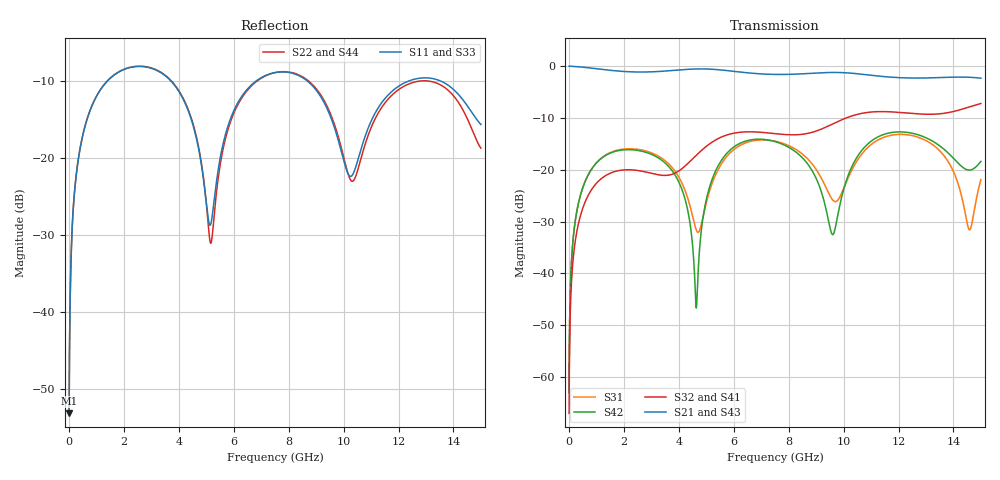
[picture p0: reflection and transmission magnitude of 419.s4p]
! Created with skrf 1.8.0 (http://scikit-rf.org).
# GHz S RI R 50.0
!freq ReS11 ImS11 ReS12 ImS12 ReS13 ImS13
! ReS14 ImS14
! ReS21 ImS21 ReS22 ImS22 ReS23 ImS23
! ReS24 ImS24
! ReS31 ImS31 ReS32 ImS32 ReS33 ImS33
! ReS34 ImS34
! ReS41 ImS41 ReS42 ImS42 ReS43 ImS43
! ReS44 ImS44
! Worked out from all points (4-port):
!   2499 points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, 5 MHz to 15 GHz, reference 50 ohm
!   strongest paths, dB at 5 MHz, 3.476 GHz, 7.19 GHz, 11.1 GHz, 15 GHz:
!     S21: 0.0, -1.0, -1.6, -1.8, -2.3
!     S43: 0.0, -1.0, -1.6, -1.8, -2.3
!     S32: -67.0, -21.1, -12.9, -8.8, -7.2
!     S41: -67.0, -21.2, -12.9, -8.8, -7.2
!     S42: -63.0, -18.6, -14.2, -14.1, -18.4
!     S31: -63.0, -18.1, -14.3, -14.8, -21.9
!   lowest |S11| = -53.2 dB at 5 MHz (marker M1), VSWR 1.00, Z = 50.2 + j0.133 ohm
!   |S11| at or under -10 dB: 3.704 GHz to 6.829 GHz (3.126 GHz wide, 59.4 % of centre); 8.667 GHz to 12.4 GHz (3.733 GHz wide, 35.4 % of centre); 13.51 GHz to end of sweep (the widest 3 of 4)
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0.005  0.00174 0.00132  0.9982 -0.00339  8.83e-05 0.000705  -8.57e-05 -0.00044
       0.9982 -0.00339  0.00174 0.00132  -8.57e-05 -0.00044  8.82e-05 0.000705
       8.83e-05 0.000705  -8.57e-05 -0.00044  0.00174 0.00132  0.9982 -0.00339
       -8.57e-05 -0.00044  8.82e-05 0.000705  0.9982 -0.00339  0.00174 0.00132
0.3126303  0.0266 0.0864  0.9636 -0.2104  0.0128 0.0415  -0.0104 -0.0255
           0.9636 -0.2104  0.0267 0.0864  -0.0104 -0.0255  0.0123 0.0416
           0.0128 0.0415  -0.0104 -0.0255  0.0266 0.0864  0.9636 -0.2104
           -0.0104 -0.0255  0.0123 0.0416  0.9636 -0.2104  0.0267 0.0864
1.519383  0.2812 0.1733  0.5225 -0.7444  0.1363 0.0552  -0.0929 -0.00181
          0.5225 -0.7444  0.2828 0.1721  -0.0931 -0.00164  0.1315 0.0622
          0.1363 0.0552  -0.0931 -0.00164  0.2812 0.1734  0.5224 -0.7444
          -0.0929 -0.00181  0.1315 0.0622  0.5224 -0.7444  0.283 0.172
4.639433  0.0707 -0.1135  -0.8645 -0.3645  -0.0231 -0.0123  -0.0507 0.1286
          -0.8645 -0.3645  0.0643 -0.1212  -0.0484 0.1296  0.00442 0.00145
          -0.0231 -0.0123  -0.0484 0.1296  0.0722 -0.1141  -0.8643 -0.3646
          -0.0507 0.1286  0.00442 0.00145  -0.8643 -0.3646  0.0638 -0.1226
7.928303  0.3585 -0.0278  -0.028 0.8309  0.1509 -0.0871  0.2089 -0.0573
          -0.028 0.8309  0.3604 -0.0269  0.209 -0.063  0.1522 -0.0728
          0.1509 -0.0871  0.209 -0.063  0.3585 -0.0279  -0.0269 0.8305
          0.2089 -0.0573  0.1522 -0.0728  -0.0269 0.8305  0.3623 -0.0278
10.6732  0.1008 0.0645  0.8323 -0.0549  0.0392 0.1374  -0.0402 -0.3481
         0.8323 -0.0549  0.0905 0.0527  -0.0511 -0.3468  0.0646 0.141
         0.0392 0.1374  -0.0511 -0.3468  0.1022 0.0584  0.8324 -0.0563
         -0.0402 -0.3481  0.0646 0.141  0.8324 -0.0563  0.0891 0.0507
15  0.1539 -0.0579  -0.6564 -0.3932  -0.0183 0.0783  -0.2271 0.3725
    -0.6564 -0.3932  0.1133 -0.0219  -0.2098 0.3823  -0.1093 0.0505
    -0.0183 0.0783  -0.2098 0.3823  0.1528 -0.0589  -0.6603 -0.3864
    -0.2271 0.3725  -0.1093 0.0505  -0.6603 -0.3864  0.1084 -0.0191
